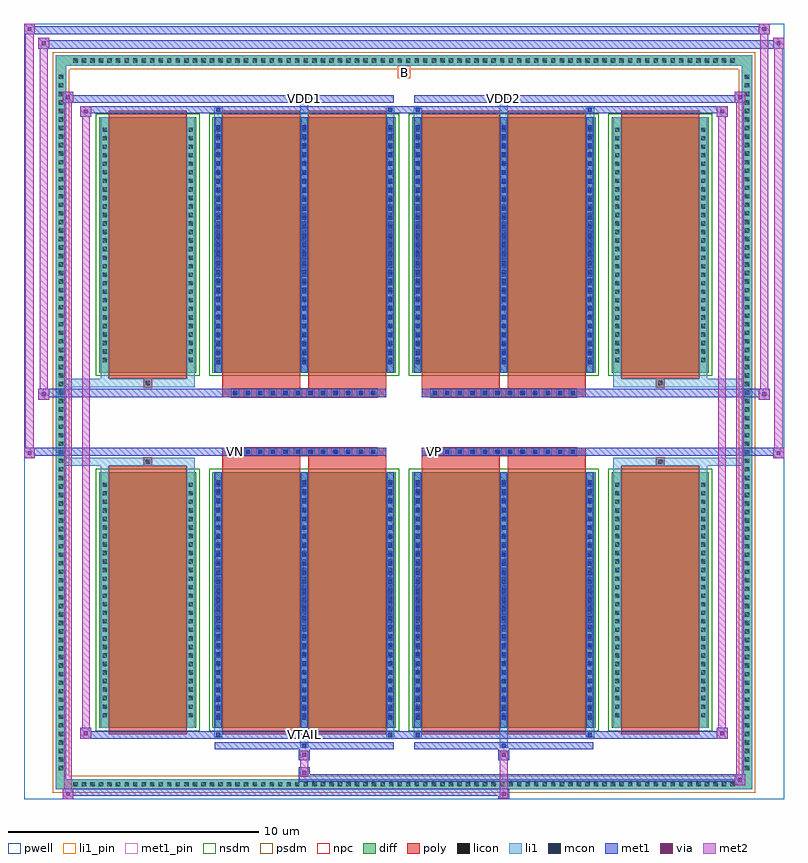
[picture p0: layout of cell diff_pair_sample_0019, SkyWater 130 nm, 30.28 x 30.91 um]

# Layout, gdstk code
import gdstk
lib = gdstk.Library(unit=1e-6, precision=5e-09)
def R(c, l, rs):  # rectangles x0, y0, x1, y1
    for r in rs: c.add(gdstk.rectangle(r[:2], r[2:], *l))
def A(c, l, x, y, w, h, nx, ny, dx, dy):  # array of equal rectangles
    R(c, l, [(x+i*dx, y+j*dy, x+i*dx+w, y+j*dy+h) for i in range(nx) for j in range(ny)])
def P(c, l, *ps):  # polygons
    for p in ps: c.add(gdstk.Polygon(p, *l))
pwell = (64, 44)
diff = (65, 20)
poly = (66, 20)
licon = (66, 44)
li1_pin = (67, 16)
li1 = (67, 20)
mcon = (67, 44)
met1_pin = (68, 16)
met1 = (68, 20)
via = (68, 44)
met2 = (69, 20)
nsdm = (93, 44)
psdm = (94, 20)
npc = (95, 20)

diff_pair_sample_0019 = lib.new_cell('diff_pair_sample_0019')
R(diff_pair_sample_0019, pwell, [(-15.14,-15.02,15.14,15.89), (-12.46,-13.21,-0.01,-0.805), (0.01,-13.21,12.46,-0.805), (-12.46,0.805,-0.01,13.21), (0.01,0.805,12.46,13.21)])
A(diff_pair_sample_0019, diff, -13.295, -14.62, 0.41, 0.41, 78, 2, 0.34, 28.83)
A(diff_pair_sample_0019, diff, -13.87, -13.975, 0.41, 0.41, 1, 82, 0, 0.34)
A(diff_pair_sample_0019, diff, 13.46, -13.975, 0.41, 0.41, 1, 82, 0, 0.34)
R(diff_pair_sample_0019, diff, [(-13.295,-14.62,13.295,-14.21), (-13.87,-13.975,-13.46,13.975), (13.46,-13.975,13.87,13.975), (-12.15,-12.165,-8.27,-1.985), (-7.63,-12.165,-0.32,-1.985), (0.32,-12.165,7.63,-1.985), (8.27,-12.165,12.15,-1.985), (-12.15,1.985,-8.27,12.165), (-7.63,1.985,-0.32,12.165), (0.32,1.985,7.63,12.165), (8.27,1.985,12.15,12.165), (-13.295,14.21,13.295,14.62)])
P(diff_pair_sample_0019, diff, [(13.87,14.62),(-13.87,14.62),(-13.87,-14.21),(-13.46,-14.21),(-13.46,14.21),(13.46,14.21),(13.46,-14.21),(-13.46,-14.21),(-13.87,-14.21),(-13.87,-14.62),(13.87,-14.62)])
A(diff_pair_sample_0019, poly, -6.89, -1.335, 0.33, 0.33, 12, 2, 0.5, 2.34)
A(diff_pair_sample_0019, poly, 1.06, -1.335, 0.33, 0.33, 12, 2, 0.5, 2.34)
R(diff_pair_sample_0019, poly, [(-11.76,-12.415,-8.66,-1.735), (-7.24,-12.415,-4.14,-1.735), (-3.81,-12.415,-0.71,-1.735), (0.71,-12.415,3.81,-1.735), (4.14,-12.415,7.24,-1.735), (8.66,-12.415,11.76,-1.735), (-10.375,-1.735,-10.045,-1.405), (-10.375,-1.735,-10.045,-1.405), (-7.24,-1.735,-4.14,-1.335), (-3.81,-1.735,-0.71,-1.335), (0.71,-1.735,3.81,-1.335), (4.14,-1.735,7.24,-1.335), (10.045,-1.735,10.375,-1.405), (10.045,-1.735,10.375,-1.405), (-7.24,-1.335,-0.71,-1.005), (0.71,-1.335,7.24,-1.005), (-7.24,1.005,-0.71,1.335), (0.71,1.005,7.24,1.335), (-7.24,1.335,-4.14,1.735), (-3.81,1.335,-0.71,1.735), (0.71,1.335,3.81,1.735), (4.14,1.335,7.24,1.735), (-10.375,1.405,-10.045,1.735), (-10.375,1.405,-10.045,1.735), (10.045,1.405,10.375,1.735), (10.045,1.405,10.375,1.735), (-11.76,1.735,-8.66,12.415), (-7.24,1.735,-4.14,12.415), (-3.81,1.735,-0.71,12.415), (0.71,1.735,3.81,12.415), (4.14,1.735,7.24,12.415), (8.66,1.735,11.76,12.415)])
A(diff_pair_sample_0019, licon, -13.175, -14.5, 0.17, 0.17, 78, 2, 0.34, 28.83)
A(diff_pair_sample_0019, licon, -13.75, -13.855, 0.17, 0.17, 1, 82, 0, 0.34)
A(diff_pair_sample_0019, licon, 13.58, -13.855, 0.17, 0.17, 1, 82, 0, 0.34)
A(diff_pair_sample_0019, licon, -12.01, -11.75, 0.17, 0.17, 1, 28, 0, 0.34)
A(diff_pair_sample_0019, licon, -8.58, -11.75, 0.17, 0.17, 1, 28, 0, 0.34)
A(diff_pair_sample_0019, licon, -7.49, -11.75, 0.17, 0.17, 3, 28, 3.43, 0.34)
A(diff_pair_sample_0019, licon, 0.46, -11.75, 0.17, 0.17, 3, 28, 3.43, 0.34)
A(diff_pair_sample_0019, licon, 8.41, -11.75, 0.17, 0.17, 1, 28, 0, 0.34)
A(diff_pair_sample_0019, licon, 11.84, -11.75, 0.17, 0.17, 1, 28, 0, 0.34)
A(diff_pair_sample_0019, licon, -6.81, -1.255, 0.17, 0.17, 12, 2, 0.5, 2.34)
A(diff_pair_sample_0019, licon, 1.14, -1.255, 0.17, 0.17, 12, 2, 0.5, 2.34)
A(diff_pair_sample_0019, licon, -12.01, 2.4, 0.17, 0.17, 1, 28, 0, 0.34)
A(diff_pair_sample_0019, licon, -8.58, 2.4, 0.17, 0.17, 1, 28, 0, 0.34)
A(diff_pair_sample_0019, licon, -7.49, 2.4, 0.17, 0.17, 3, 28, 3.43, 0.34)
A(diff_pair_sample_0019, licon, 0.46, 2.4, 0.17, 0.17, 3, 28, 3.43, 0.34)
A(diff_pair_sample_0019, licon, 8.41, 2.4, 0.17, 0.17, 1, 28, 0, 0.34)
A(diff_pair_sample_0019, licon, 11.84, 2.4, 0.17, 0.17, 1, 28, 0, 0.34)
R(diff_pair_sample_0019, licon, [(-10.295,-1.655,-10.125,-1.485), (10.125,-1.655,10.295,-1.485), (-10.295,1.485,-10.125,1.655), (10.125,1.485,10.295,1.655)])
R(diff_pair_sample_0019, li1_pin, [(-0.25,13.71,0.25,14.21)])
A(diff_pair_sample_0019, li1, -13.255, -14.58, 0.33, 0.33, 78, 2, 0.34, 28.83)
A(diff_pair_sample_0019, li1, -13.83, -13.935, 0.33, 0.33, 1, 82, 0, 0.34)
A(diff_pair_sample_0019, li1, 13.5, -13.935, 0.33, 0.33, 1, 82, 0, 0.34)
A(diff_pair_sample_0019, li1, -7.57, -12.165, 0.33, 10.18, 3, 2, 3.43, 14.15)
A(diff_pair_sample_0019, li1, 0.38, -12.165, 0.33, 10.18, 3, 2, 3.43, 14.15)
A(diff_pair_sample_0019, li1, -7.49, -11.84, 0.17, 0.17, 3, 27, 3.43, 0.36)
A(diff_pair_sample_0019, li1, -7.49, -11.84, 0.17, 9.53, 3, 2, 3.43, 14.15)
A(diff_pair_sample_0019, li1, 0.46, -11.84, 0.17, 0.17, 3, 27, 3.43, 0.36)
A(diff_pair_sample_0019, li1, 0.46, -11.84, 0.17, 9.53, 3, 2, 3.43, 14.15)
A(diff_pair_sample_0019, li1, -12.09, -11.83, 0.33, 0.33, 1, 28, 0, 0.34)
A(diff_pair_sample_0019, li1, -8.66, -11.83, 0.33, 0.33, 1, 28, 0, 0.34)
A(diff_pair_sample_0019, li1, -7.57, -11.83, 0.33, 0.33, 3, 28, 3.43, 0.34)
A(diff_pair_sample_0019, li1, 0.38, -11.83, 0.33, 0.33, 3, 28, 3.43, 0.34)
A(diff_pair_sample_0019, li1, 8.33, -11.83, 0.33, 0.33, 1, 28, 0, 0.34)
A(diff_pair_sample_0019, li1, 11.76, -11.83, 0.33, 0.33, 1, 28, 0, 0.34)
A(diff_pair_sample_0019, li1, -6.89, -1.335, 0.33, 0.33, 12, 2, 0.5, 2.34)
A(diff_pair_sample_0019, li1, 1.06, -1.335, 0.33, 0.33, 12, 2, 0.5, 2.34)
A(diff_pair_sample_0019, li1, -7.49, 2.31, 0.17, 0.17, 3, 27, 3.43, 0.36)
A(diff_pair_sample_0019, li1, 0.46, 2.31, 0.17, 0.17, 3, 27, 3.43, 0.36)
A(diff_pair_sample_0019, li1, -12.09, 2.32, 0.33, 0.33, 1, 28, 0, 0.34)
A(diff_pair_sample_0019, li1, -8.66, 2.32, 0.33, 0.33, 1, 28, 0, 0.34)
A(diff_pair_sample_0019, li1, -7.57, 2.32, 0.33, 0.33, 3, 28, 3.43, 0.34)
A(diff_pair_sample_0019, li1, 0.38, 2.32, 0.33, 0.33, 3, 28, 3.43, 0.34)
A(diff_pair_sample_0019, li1, 8.33, 2.32, 0.33, 0.33, 1, 28, 0, 0.34)
A(diff_pair_sample_0019, li1, 11.76, 2.32, 0.33, 0.33, 1, 28, 0, 0.34)
R(diff_pair_sample_0019, li1, [(-13.87,-14.62,-13.46,-14.21), (-13.87,-14.62,-13.46,-14.21), (-13.46,-14.62,13.46,-14.21), (13.46,-14.62,13.87,-14.21), (13.46,-14.62,13.87,-14.21), (-13.87,-14.21,-13.46,14.21), (13.46,-14.21,13.87,14.21), (-4.14,-12.97,-3.81,-12.165), (-4.06,-12.97,-3.89,-12.8), (3.81,-12.97,4.14,-12.165), (3.89,-12.97,4.06,-12.8), (-7.57,-12.54,-7.24,-12.165), (-7.49,-12.54,-7.32,-12.37), (-0.71,-12.54,-0.38,-12.165), (-0.63,-12.54,-0.46,-12.37), (0.38,-12.54,0.71,-12.165), (0.46,-12.54,0.63,-12.37), (7.24,-12.54,7.57,-12.165), (7.32,-12.54,7.49,-12.37), (-12.09,-12.165,-11.76,-1.985), (-8.66,-12.165,-8.33,-1.985), (8.33,-12.165,8.66,-1.985), (11.76,-12.165,12.09,-1.985), (-12.09,-1.985,-11.76,-1.405), (-8.66,-1.985,-8.33,-1.405), (8.33,-1.985,8.66,-1.405), (11.76,-1.985,12.09,-1.405), (-13.87,-1.735,-10.375,-1.405), (-12.09,-1.735,-10.375,-1.405), (-10.375,-1.735,-10.045,-1.405), (-10.045,-1.735,-8.33,-1.405), (8.33,-1.735,10.045,-1.405), (10.045,-1.735,10.375,-1.405), (10.045,-1.735,13.87,-1.405), (10.375,-1.735,12.09,-1.405), (-13.87,1.405,-10.375,1.735), (-12.09,1.405,-10.375,1.735), (-12.09,1.405,-11.76,1.985), (-10.375,1.405,-10.045,1.735), (-10.045,1.405,-8.33,1.735), (-8.66,1.405,-8.33,1.985), (8.33,1.405,10.045,1.735), (8.33,1.405,8.66,1.985), (10.045,1.405,10.375,1.735), (10.045,1.405,13.87,1.735), (10.375,1.405,12.09,1.735), (11.76,1.405,12.09,1.985), (-12.09,1.985,-11.76,12.165), (-8.66,1.985,-8.33,12.165), (8.33,1.985,8.66,12.165), (11.76,1.985,12.09,12.165), (-7.57,12.165,-7.24,12.54), (-4.14,12.165,-3.81,12.97), (-0.71,12.165,-0.38,12.54), (0.38,12.165,0.71,12.54), (3.81,12.165,4.14,12.97), (7.24,12.165,7.57,12.54), (-7.49,12.37,-7.32,12.54), (-0.63,12.37,-0.46,12.54), (0.46,12.37,0.63,12.54), (7.32,12.37,7.49,12.54), (-4.06,12.8,-3.89,12.97), (3.89,12.8,4.06,12.97), (-13.87,14.21,-13.46,14.62), (-13.87,14.21,-13.46,14.62), (-13.46,14.21,13.46,14.62), (13.46,14.21,13.87,14.62), (13.46,14.21,13.87,14.62)])
A(diff_pair_sample_0019, mcon, -7.49, -11.84, 0.17, 0.17, 3, 27, 3.43, 0.36)
A(diff_pair_sample_0019, mcon, 0.46, -11.84, 0.17, 0.17, 3, 27, 3.43, 0.36)
A(diff_pair_sample_0019, mcon, -6.81, -1.255, 0.17, 0.17, 12, 2, 0.5, 2.34)
A(diff_pair_sample_0019, mcon, 1.14, -1.255, 0.17, 0.17, 12, 2, 0.5, 2.34)
A(diff_pair_sample_0019, mcon, -7.49, 2.31, 0.17, 0.17, 3, 27, 3.43, 0.36)
A(diff_pair_sample_0019, mcon, 0.46, 2.31, 0.17, 0.17, 3, 27, 3.43, 0.36)
R(diff_pair_sample_0019, mcon, [(-4.06,-12.97,-3.89,-12.8), (3.89,-12.97,4.06,-12.8), (-7.49,-12.54,-7.32,-12.37), (-0.63,-12.54,-0.46,-12.37), (0.46,-12.54,0.63,-12.37), (7.32,-12.54,7.49,-12.37), (-7.49,12.37,-7.32,12.54), (-0.63,12.37,-0.46,12.54), (0.46,12.37,0.63,12.54), (7.32,12.37,7.49,12.54), (-4.06,12.8,-3.89,12.97), (3.89,12.8,4.06,12.97)])
R(diff_pair_sample_0019, met1_pin, [(-4.11,-12.58,-3.84,-12.31), (-6.86,-1.295,-6.59,-1.025), (1.09,-1.295,1.36,-1.025), (-4.11,12.76,-3.84,13.03), (3.84,12.76,4.11,13.03)])
A(diff_pair_sample_0019, met1, -7.55, -12.165, 0.29, 10.18, 3, 2, 3.43, 14.15)
A(diff_pair_sample_0019, met1, 0.4, -12.165, 0.29, 10.18, 3, 2, 3.43, 14.15)
A(diff_pair_sample_0019, met1, -7.55, -11.9, 0.29, 0.29, 3, 27, 3.43, 0.36)
A(diff_pair_sample_0019, met1, 0.4, -11.9, 0.29, 0.29, 3, 27, 3.43, 0.36)
A(diff_pair_sample_0019, met1, -6.87, -1.315, 0.29, 0.29, 12, 2, 0.5, 2.34)
A(diff_pair_sample_0019, met1, 1.08, -1.315, 0.29, 0.29, 12, 2, 0.5, 2.34)
A(diff_pair_sample_0019, met1, -7.55, 2.25, 0.29, 0.29, 3, 27, 3.43, 0.36)
A(diff_pair_sample_0019, met1, 0.4, 2.25, 0.29, 0.29, 3, 27, 3.43, 0.36)
R(diff_pair_sample_0019, met1, [(-13.6,-15.02,-13.17,-14.59), (3.76,-15.02,4.19,-14.59), (-13.6,-14.88,4.19,-14.59), (13.17,-14.45,13.6,-14.02), (-4.19,-14.31,13.6,-14.02), (-4.19,-14.17,-3.76,-13.74), (-4.19,-13.46,-3.76,-13.03), (3.76,-13.46,4.19,-13.03), (-7.55,-13.03,-0.4,-12.74), (-4.12,-13.03,-3.83,-12.74), (0.4,-13.03,7.55,-12.74), (3.83,-13.03,4.12,-12.74), (-12.89,-12.6,-12.46,-12.17), (-12.89,-12.6,-7.55,-12.31), (-7.55,-12.6,-7.26,-12.31), (-7.55,-12.6,-0.4,-12.31), (-0.69,-12.6,-0.4,-12.31), (-0.4,-12.6,0.4,-12.31), (0.4,-12.6,0.69,-12.31), (0.4,-12.6,7.55,-12.31), (7.26,-12.6,7.55,-12.31), (7.55,-12.6,12.89,-12.31), (12.46,-12.6,12.89,-12.17), (-15.14,-1.435,-14.71,-1.005), (14.71,-1.435,15.14,-1.005), (-15.14,-1.335,-0.71,-1.005), (-7.24,-1.335,-0.71,-1.005), (0.71,-1.335,7.24,-1.005), (0.71,-1.335,15.14,-1.005), (-14.57,0.905,-14.14,1.335), (14.14,0.905,14.57,1.335), (-14.57,1.005,-7.24,1.335), (-7.24,1.005,-0.71,1.335), (0.71,1.005,7.24,1.335), (7.24,1.005,14.57,1.335), (-12.89,12.17,-12.46,12.6), (12.46,12.17,12.89,12.6), (-12.89,12.31,-7.55,12.6), (-7.55,12.31,-7.26,12.6), (-7.55,12.31,-0.4,12.6), (-0.69,12.31,-0.4,12.6), (-0.4,12.31,0.4,12.6), (0.4,12.31,0.69,12.6), (0.4,12.31,7.55,12.6), (7.26,12.31,7.55,12.6), (7.55,12.31,12.89,12.6), (-13.6,12.74,-13.17,13.17), (-13.6,12.74,-7.55,13.03), (-7.55,12.74,-0.4,13.03), (-4.12,12.74,-3.83,13.03), (0.4,12.74,7.55,13.03), (3.83,12.74,4.12,13.03), (7.55,12.74,13.6,13.03), (13.17,12.74,13.6,13.17), (-14.57,14.89,-14.14,15.32), (-14.57,14.89,-12.46,15.22), (-12.46,14.89,12.46,15.22), (12.46,14.89,15.14,15.22), (14.71,14.89,15.14,15.32), (-15.14,15.46,-14.71,15.89), (-15.14,15.46,-12.46,15.79), (-12.46,15.46,12.46,15.79), (12.46,15.46,14.57,15.79), (14.14,15.46,14.57,15.89)])
R(diff_pair_sample_0019, via, [(-13.46,-14.88,-13.31,-14.73), (3.9,-14.88,4.05,-14.73), (13.31,-14.31,13.46,-14.16), (-4.05,-14.03,-3.9,-13.88), (-4.05,-13.32,-3.9,-13.17), (3.9,-13.32,4.05,-13.17), (-12.75,-12.46,-12.6,-12.31), (12.6,-12.46,12.75,-12.31), (-15,-1.295,-14.85,-1.145), (14.85,-1.295,15,-1.145), (-14.43,1.045,-14.28,1.195), (14.28,1.045,14.43,1.195), (-12.75,12.31,-12.6,12.46), (12.6,12.31,12.75,12.46), (-13.46,12.88,-13.31,13.03), (13.31,12.88,13.46,13.03), (-14.43,15.03,-14.28,15.18), (14.85,15.03,15,15.18), (-15,15.6,-14.85,15.75), (14.28,15.6,14.43,15.75)])
R(diff_pair_sample_0019, met2, [(-13.6,-15.02,-13.17,-14.59), (-13.53,-15.02,-13.24,13.17), (-13.24,-15.02,-13.17,-14.59), (-13.55,-14.97,-13.22,-14.64), (3.81,-14.97,4.14,-14.64), (3.81,-14.64,4.14,-13.41), (13.17,-14.45,13.6,-14.02), (13.24,-14.45,13.53,13.17), (13.53,-14.45,13.6,-14.02), (13.22,-14.4,13.55,-14.07), (-4.14,-14.12,-3.81,-13.79), (-4.14,-13.79,-3.81,-13.41), (-4.14,-13.41,-3.81,-13.08), (3.81,-13.41,4.14,-13.08), (-12.89,-12.6,-12.46,-12.17), (-12.82,-12.6,-12.53,12.6), (-12.53,-12.6,-12.46,-12.17), (12.46,-12.6,12.89,-12.17), (12.53,-12.6,12.82,12.6), (12.82,-12.6,12.89,-12.17), (-12.84,-12.55,-12.51,-12.22), (12.51,-12.55,12.84,-12.22), (-15.14,-1.435,-14.71,-1.005), (-15.09,-1.435,-14.76,15.89), (-14.76,-1.435,-14.71,-1.005), (14.71,-1.435,15.14,-1.005), (14.76,-1.435,15.09,15.32), (15.09,-1.435,15.14,-1.005), (-15.09,-1.385,-14.76,-1.055), (14.76,-1.385,15.09,-1.055), (-14.57,0.905,-14.14,1.335), (-14.52,0.905,-14.19,15.32), (-14.19,0.905,-14.14,1.335), (14.14,0.905,14.57,1.335), (14.19,0.905,14.52,15.89), (14.52,0.905,14.57,1.335), (-14.52,0.955,-14.19,1.285), (14.19,0.955,14.52,1.285), (-12.89,12.17,-12.46,12.6), (-12.53,12.17,-12.46,12.6), (12.46,12.17,12.89,12.6), (12.82,12.17,12.89,12.6), (-12.84,12.22,-12.51,12.55), (12.51,12.22,12.84,12.55), (-13.6,12.74,-13.17,13.17), (-13.24,12.74,-13.17,13.17), (13.17,12.74,13.6,13.17), (13.53,12.74,13.6,13.17), (-13.55,12.79,-13.22,13.12), (13.22,12.79,13.55,13.12), (-14.57,14.89,-14.14,15.32), (-14.19,14.89,-14.14,15.32), (14.71,14.89,15.14,15.32), (15.09,14.89,15.14,15.32), (-14.52,14.94,-14.19,15.27), (14.76,14.94,15.09,15.27), (-15.14,15.46,-14.71,15.89), (-14.76,15.46,-14.71,15.89), (14.14,15.46,14.57,15.89), (14.52,15.46,14.57,15.89), (-15.09,15.51,-14.76,15.84), (14.19,15.51,14.52,15.84)])
R(diff_pair_sample_0019, nsdm, [(-12.28,-12.295,-8.14,-1.855), (-7.76,-12.295,-0.19,-1.855), (0.19,-12.295,7.76,-1.855), (8.14,-12.295,12.28,-1.855), (-12.28,1.855,-8.14,12.295), (-7.76,1.855,-0.19,12.295), (0.19,1.855,7.76,12.295), (8.14,1.855,12.28,12.295)])
P(diff_pair_sample_0019, psdm, [(14,14.75),(-14,14.75),(-14,-14.08),(-13.33,-14.08),(-13.33,14.08),(13.33,14.08),(13.33,-14.08),(-13.33,-14.08),(-14,-14.08),(-14,-14.75),(14,-14.75)])
A(diff_pair_sample_0019, npc, -6.91, -1.355, 0.37, 0.37, 12, 2, 0.5, 2.34)
A(diff_pair_sample_0019, npc, 1.04, -1.355, 0.37, 0.37, 12, 2, 0.5, 2.34)
R(diff_pair_sample_0019, npc, [(-10.395,-1.755,-10.025,-1.385), (10.025,-1.755,10.395,-1.385), (-6.91,-1.355,-6.04,-0.985), (-6.91,-1.355,-6.04,-0.985), (-6.41,-1.355,-5.54,-0.985), (-6.41,-1.355,-5.54,-0.985), (-5.91,-1.355,-5.04,-0.985), (-5.91,-1.355,-5.04,-0.985), (-5.41,-1.355,-4.54,-0.985), (-5.41,-1.355,-4.54,-0.985), (-4.91,-1.355,-4.04,-0.985), (-4.91,-1.355,-4.04,-0.985), (-4.41,-1.355,-3.54,-0.985), (-4.41,-1.355,-3.54,-0.985), (-3.91,-1.355,-3.04,-0.985), (-3.91,-1.355,-3.04,-0.985), (-3.41,-1.355,-2.54,-0.985), (-3.41,-1.355,-2.54,-0.985), (-2.91,-1.355,-2.04,-0.985), (-2.91,-1.355,-2.04,-0.985), (-2.41,-1.355,-1.54,-0.985), (-2.41,-1.355,-1.54,-0.985), (-1.91,-1.355,-1.04,-0.985), (-1.91,-1.355,-1.04,-0.985), (1.04,-1.355,1.91,-0.985), (1.04,-1.355,1.91,-0.985), (1.54,-1.355,2.41,-0.985), (1.54,-1.355,2.41,-0.985), (2.04,-1.355,2.91,-0.985), (2.04,-1.355,2.91,-0.985), (2.54,-1.355,3.41,-0.985), (2.54,-1.355,3.41,-0.985), (3.04,-1.355,3.91,-0.985), (3.04,-1.355,3.91,-0.985), (3.54,-1.355,4.41,-0.985), (3.54,-1.355,4.41,-0.985), (4.04,-1.355,4.91,-0.985), (4.04,-1.355,4.91,-0.985), (4.54,-1.355,5.41,-0.985), (4.54,-1.355,5.41,-0.985), (5.04,-1.355,5.91,-0.985), (5.04,-1.355,5.91,-0.985), (5.54,-1.355,6.41,-0.985), (5.54,-1.355,6.41,-0.985), (6.04,-1.355,6.91,-0.985), (6.04,-1.355,6.91,-0.985), (-6.91,0.985,-6.04,1.355), (-6.91,0.985,-6.04,1.355), (-6.41,0.985,-5.54,1.355), (-6.41,0.985,-5.54,1.355), (-5.91,0.985,-5.04,1.355), (-5.91,0.985,-5.04,1.355), (-5.41,0.985,-4.54,1.355), (-5.41,0.985,-4.54,1.355), (-4.91,0.985,-4.04,1.355), (-4.91,0.985,-4.04,1.355), (-4.41,0.985,-3.54,1.355), (-4.41,0.985,-3.54,1.355), (-3.91,0.985,-3.04,1.355), (-3.91,0.985,-3.04,1.355), (-3.41,0.985,-2.54,1.355), (-3.41,0.985,-2.54,1.355), (-2.91,0.985,-2.04,1.355), (-2.91,0.985,-2.04,1.355), (-2.41,0.985,-1.54,1.355), (-2.41,0.985,-1.54,1.355), (-1.91,0.985,-1.04,1.355), (-1.91,0.985,-1.04,1.355), (1.04,0.985,1.91,1.355), (1.04,0.985,1.91,1.355), (1.54,0.985,2.41,1.355), (1.54,0.985,2.41,1.355), (2.04,0.985,2.91,1.355), (2.04,0.985,2.91,1.355), (2.54,0.985,3.41,1.355), (2.54,0.985,3.41,1.355), (3.04,0.985,3.91,1.355), (3.04,0.985,3.91,1.355), (3.54,0.985,4.41,1.355), (3.54,0.985,4.41,1.355), (4.04,0.985,4.91,1.355), (4.04,0.985,4.91,1.355), (4.54,0.985,5.41,1.355), (4.54,0.985,5.41,1.355), (5.04,0.985,5.91,1.355), (5.04,0.985,5.91,1.355), (5.54,0.985,6.41,1.355), (5.54,0.985,6.41,1.355), (6.04,0.985,6.91,1.355), (6.04,0.985,6.91,1.355), (-10.395,1.385,-10.025,1.755), (10.025,1.385,10.395,1.755)])
diff_pair_sample_0019.add(gdstk.Label('VTAIL', (-3.975,-12.445), layer=68, texttype=5))
diff_pair_sample_0019.add(gdstk.Label('VN', (-6.725,-1.16), layer=68, texttype=5))
diff_pair_sample_0019.add(gdstk.Label('VP', (1.225,-1.16), layer=68, texttype=5))
diff_pair_sample_0019.add(gdstk.Label('B', (0,13.96), layer=67, texttype=5))
diff_pair_sample_0019.add(gdstk.Label('VDD2', (3.975,12.895), layer=68, texttype=5))
diff_pair_sample_0019.add(gdstk.Label('VDD1', (-3.975,12.895), layer=68, texttype=5))

lib.write_gds('diff_pair_sample_0019.gds')
